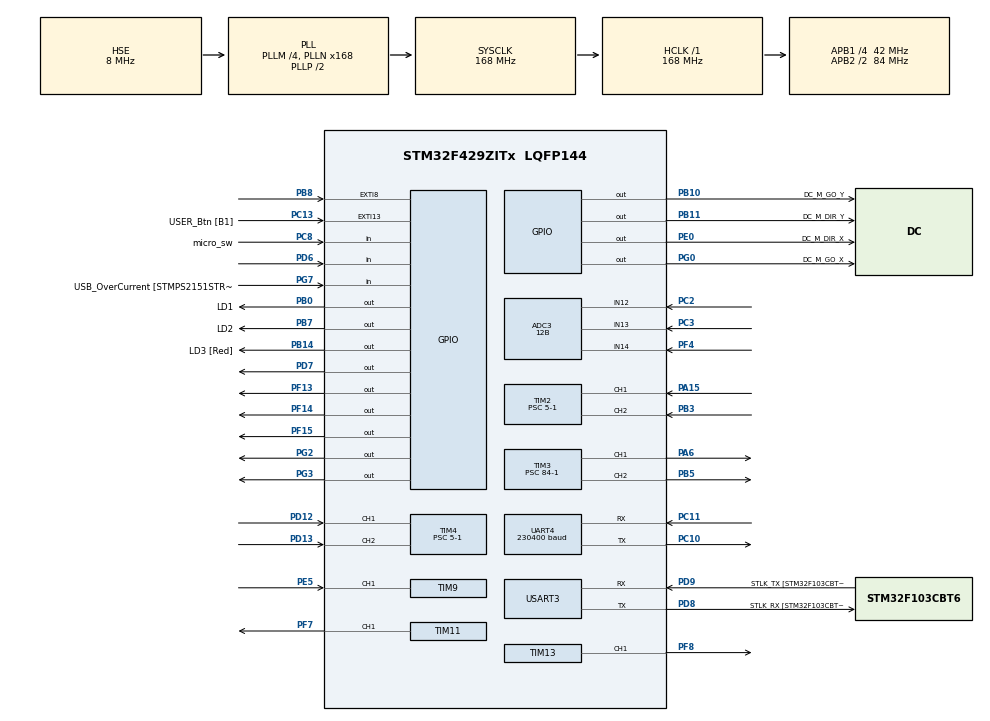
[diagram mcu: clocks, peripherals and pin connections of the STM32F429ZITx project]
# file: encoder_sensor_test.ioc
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ADC3.Channel-3\#ChannelRegularConversion=ADC_CHANNEL_13
ADC3.Channel-4\#ChannelRegularConversion=ADC_CHANNEL_12
ADC3.Channel-5\#ChannelRegularConversion=ADC_CHANNEL_14
ADC3.ContinuousConvMode=DISABLE
ADC3.DMAContinuousRequests=ENABLE
ADC3.DiscontinuousConvMode=ENABLE
ADC3.ExternalTrigConv=ADC_EXTERNALTRIGCONV_T8_TRGO
ADC3.NbrOfConversion=3
ADC3.NbrOfConversionFlag=1
ADC3.NbrOfDiscConversion=3
ADC3.Rank-3\#ChannelRegularConversion=1
ADC3.Rank-4\#ChannelRegularConversion=2
ADC3.Rank-5\#ChannelRegularConversion=3
ADC3.Resolution=ADC_RESOLUTION_12B
ADC3.SamplingTime-3\#ChannelRegularConversion=ADC_SAMPLETIME_480CYCLES
ADC3.SamplingTime-4\#ChannelRegularConversion=ADC_SAMPLETIME_480CYCLES
ADC3.SamplingTime-5\#ChannelRegularConversion=ADC_SAMPLETIME_480CYCLES
ADC3.ScanConvMode=ENABLE
Dma.ADC3.0.Direction=DMA_PERIPH_TO_MEMORY
Dma.ADC3.0.FIFOMode=DMA_FIFOMODE_DISABLE
Dma.ADC3.0.Instance=DMA2_Stream1
Dma.ADC3.0.MemDataAlignment=DMA_MDATAALIGN_HALFWORD
Dma.ADC3.0.MemInc=DMA_MINC_ENABLE
Dma.ADC3.0.Mode=DMA_CIRCULAR
Dma.ADC3.0.PeriphDataAlignment=DMA_PDATAALIGN_HALFWORD
Dma.ADC3.0.PeriphInc=DMA_PINC_DISABLE
Dma.ADC3.0.Priority=DMA_PRIORITY_LOW
Dma.Request0=ADC3
Mcu.Family=STM32F4
Mcu.Name=STM32F429ZITx
Mcu.Package=LQFP144
NVIC.ADC_IRQn=true\:14\:0\:true\:false\:true\:true\:true\:true
NVIC.DMA2_Stream1_IRQn=true\:0\:0\:false\:false\:true\:false\:true\:true
NVIC.EXTI9_5_IRQn=true\:0\:0\:false\:false\:true\:true\:true\:true
NVIC.PriorityGroup=NVIC_PRIORITYGROUP_4
NVIC.TIM1_TRG_COM_TIM11_IRQn=true\:0\:0\:true\:false\:true\:true\:true\:true
NVIC.TIM4_IRQn=true\:0\:0\:true\:false\:true\:true\:true\:true
NVIC.TIM6_DAC_IRQn=true\:0\:0\:true\:false\:true\:true\:true\:true
NVIC.TIM8_TRG_COM_TIM14_IRQn=true\:0\:0\:true\:false\:true\:true\:true\:true
NVIC.TIM8_UP_TIM13_IRQn=true\:0\:0\:true\:false\:true\:true\:true\:true
NVIC.UART4_IRQn=true\:15\:0\:true\:false\:true\:true\:true\:true
NVIC.USART3_IRQn=true\:15\:0\:true\:false\:true\:true\:true\:true
PA1.GPIO_Speed=GPIO_SPEED_FREQ_VERY_HIGH
PA1.Signal=S_TIM5_CH2
PA11.GPIO_Label=USB_DM
PA11.Signal=USB_OTG_FS_DM
PA12.GPIO_Label=USB_DP
PA12.Signal=USB_OTG_FS_DP
PA13.GPIO_Label=TMS
PA13.Mode=Serial_Wire
PA13.Signal=SYS_JTMS-SWDIO
PA14.GPIO_Label=TCK
PA14.Mode=Serial_Wire
PA14.Signal=SYS_JTCK-SWCLK
PA15.GPIO_Speed=GPIO_SPEED_FREQ_VERY_HIGH
PA15.Signal=S_TIM2_CH1_ETR
PA6.GPIO_Speed=GPIO_SPEED_FREQ_VERY_HIGH
PA6.Signal=S_TIM3_CH1
PA8.GPIO_Label=USB_SOF [TP1]
PA8.Signal=USB_OTG_FS_SOF
PA9.GPIO_Label=USB_VBUS
PA9.Signal=USB_OTG_FS_VBUS
PB0.GPIO_Label=LD1
PB0.Signal=GPIO_Output
PB10.GPIO_Label=DC_M_GO_Y
PB10.GPIO_Speed=GPIO_SPEED_FREQ_LOW
PB10.Signal=GPIO_Output
PB11.GPIO_Label=DC_M_DIR_Y
PB11.GPIO_Speed=GPIO_SPEED_FREQ_LOW
PB11.Signal=GPIO_Output
PB14.GPIO_Label=LD3 [Red]
PB14.Signal=GPIO_Output
PB3.GPIO_Speed=GPIO_SPEED_FREQ_VERY_HIGH
PB3.Signal=S_TIM2_CH2
PB5.GPIO_Speed=GPIO_SPEED_FREQ_VERY_HIGH
PB5.Signal=S_TIM3_CH2
PB7.GPIO_Label=LD2
PB7.Signal=GPIO_Output
PB8.Signal=GPXTI8
PC10.Mode=Asynchronous
PC10.Signal=UART4_TX
PC11.Mode=Asynchronous
PC11.Signal=UART4_RX
PC13.GPIO_Label=USER_Btn [B1]
PC13.Signal=GPXTI13
PC14/OSC32_IN.Mode=LSE-External-Oscillator
PC14/OSC32_IN.Signal=RCC_OSC32_IN
PC15/OSC32_OUT.Mode=LSE-External-Oscillator
PC15/OSC32_OUT.Signal=RCC_OSC32_OUT
PC2.Signal=ADCx_IN12
PC3.Signal=ADCx_IN13
PC8.GPIO_Label=micro_sw
PC8.Signal=GPIO_Input
PD12.GPIO_Speed=GPIO_SPEED_FREQ_VERY_HIGH
PD12.Signal=S_TIM4_CH1
PD13.GPIO_Speed=GPIO_SPEED_FREQ_VERY_HIGH
PD13.Signal=S_TIM4_CH2
PD6.Signal=GPIO_Input
PD7.Signal=GPIO_Output
PD8.GPIO_Label=STLK_RX [STM32F103CBT6_PA3]
PD8.Mode=Asynchronous
PD8.Signal=USART3_TX
PD9.GPIO_Label=STLK_TX [STM32F103CBT6_PA2]
PD9.Mode=Asynchronous
PD9.Signal=USART3_RX
PE0.GPIO_Label=DC_M_DIR_X
PE0.GPIO_Speed=GPIO_SPEED_FREQ_LOW
PE0.Signal=GPIO_Output
PE5.Signal=S_TIM9_CH1
PF13.Signal=GPIO_Output
PF14.Signal=GPIO_Output
PF15.Signal=GPIO_Output
PF4.Mode=IN14
PF4.Signal=ADC3_IN14
PF7.GPIO_Speed=GPIO_SPEED_FREQ_VERY_HIGH
PF7.Signal=S_TIM11_CH1
PF8.GPIO_Speed=GPIO_SPEED_FREQ_VERY_HIGH
PF8.Signal=S_TIM13_CH1
PG0.GPIO_Label=DC_M_GO_X
PG0.GPIO_Speed=GPIO_SPEED_FREQ_LOW
PG0.Signal=GPIO_Output
PG2.Signal=GPIO_Output
PG3.Signal=GPIO_Output
PG7.GPIO_Label=USB_OverCurrent [STMPS2151STR_FAULT]
PG7.Signal=GPIO_Input
PH0/OSC_IN.GPIO_Label=MCO [STM32F103CBT6_PA8]
PH0/OSC_IN.Mode=HSE-External-Clock-Source
PH0/OSC_IN.Signal=RCC_OSC_IN
PH1/OSC_OUT.Mode=HSE-External-Clock-Source
PH1/OSC_OUT.Signal=RCC_OSC_OUT
ProjectManager.HeapSize=0x200
ProjectManager.StackSize=0x400
ProjectManager.TargetToolchain=STM32CubeIDE
RCC.48MHZClocksFreq_Value=48000000
RCC.AHBFreq_Value=168000000
RCC.APB1CLKDivider=RCC_HCLK_DIV4
RCC.APB1Freq_Value=42000000
RCC.APB1TimFreq_Value=84000000
RCC.APB2CLKDivider=RCC_HCLK_DIV2
RCC.APB2Freq_Value=84000000
RCC.APB2TimCLKDivider=2
RCC.APB2TimFreq_Value=168000000
RCC.CortexFreq_Value=168000000
RCC.HCLKFreq_Value=168000000
RCC.HSE_VALUE=8000000
RCC.HSI_VALUE=16000000
RCC.PLLM=4
RCC.PLLMUL=RCC_PLL_MUL9
RCC.PLLN=168
RCC.PLLQ=7
RCC.PLLSourceVirtual=RCC_PLLSOURCE_HSE
RCC.PRESCALERUSB=RCC_USBCLKSOURCE_PLL_DIV1_5
RCC.SYSCLKFreq_VALUE=168000000
RCC.SYSCLKSource=RCC_SYSCLKSOURCE_PLLCLK
RCC.SYSCLKSourceVirtual=RCC_SYSCLKSOURCE_PLLCLK
RCC.USBFreq_Value=48000000
RCC.VCOOutputFreq_Value=336000000
SH.ADCx_IN12.0=ADC3_IN12,IN12
SH.ADCx_IN13.0=ADC3_IN13,IN13
SH.S_TIM11_CH1.0=TIM11_CH1,Output Compare1 CH1
SH.S_TIM13_CH1.0=TIM13_CH1,Output Compare1 CH1
SH.S_TIM2_CH1_ETR.0=TIM2_CH1,Encoder_Interface
SH.S_TIM2_CH2.0=TIM2_CH2,Encoder_Interface
SH.S_TIM3_CH1.0=TIM3_CH1,PWM Generation1 CH1
SH.S_TIM3_CH2.0=TIM3_CH2,PWM Generation2 CH2
SH.S_TIM4_CH1.0=TIM4_CH1,Encoder_Interface
SH.S_TIM4_CH2.0=TIM4_CH2,Encoder_Interface
SH.S_TIM5_CH2.0=TIM5_CH2
SH.S_TIM9_CH1.0=TIM9_CH1,TriggerSource_TI1FP1
TIM11.AutoReloadPreload=TIM_AUTORELOAD_PRELOAD_ENABLE
TIM11.Channel=TIM_CHANNEL_1
TIM11.OCMode_1=TIM_OCMODE_TOGGLE
TIM11.Period=800-1
TIM11.Prescaler=168-1
TIM11.Pulse=50
TIM12.Prescaler=42-1
TIM13.AutoReloadPreload=TIM_AUTORELOAD_PRELOAD_ENABLE
TIM13.Channel=TIM_CHANNEL_1
TIM13.OCMode_1=TIM_OCMODE_TOGGLE
TIM13.Period=800-1
TIM13.Prescaler=84-1
TIM13.Pulse=50
TIM14.Period=1000-1
TIM14.Prescaler=840-1
TIM2.EncoderMode=TIM_ENCODERMODE_TI12
TIM2.Period=0xffffffff
TIM2.Prescaler=5-1
TIM3.Channel-PWM\ Generation1\ CH1=TIM_CHANNEL_1
TIM3.Channel-PWM\ Generation2\ CH2=TIM_CHANNEL_2
TIM3.Period=10000-1
TIM3.Prescaler=84-1
TIM3.Pulse-PWM\ Generation1\ CH1=600
TIM3.Pulse-PWM\ Generation2\ CH2=600
TIM4.EncoderMode=TIM_ENCODERMODE_TI12
TIM4.Period=0xFFFF-1
TIM4.Prescaler=5-1
TIM6.Period=1000-1
TIM6.Prescaler=84-1
TIM8.Channel-Output\ Compare4\ No\ Output=TIM_CHANNEL_4
TIM8.Period=30-1
TIM8.Prescaler=84-1
TIM8.Pulse-Output\ Compare4\ No\ Output=2000
TIM8.TIM_MasterOutputTrigger=TIM_TRGO_UPDATE
UART4.BaudRate=230400
UART4.Parity=PARITY_EVEN
UART4.VirtualMode=Asynchronous
USART3.VirtualMode=VM_ASYNC
VP_TIM11_VS_ClockSourceINT.Mode=Enable_Timer
VP_TIM12_VS_ClockSourceINT.Mode=Internal
VP_TIM13_VS_ClockSourceINT.Mode=Enable_Timer
VP_TIM14_VS_ClockSourceINT.Mode=Enable_Timer
VP_TIM3_VS_ClockSourceINT.Mode=Internal
VP_TIM6_VS_ClockSourceINT.Mode=Enable_Timer
VP_TIM8_VS_ClockSourceINT.Mode=Internal
VP_TIM8_VS_no_output4.Mode=Output Compare4 No Output
VP_TIM9_VS_ControllerModeClock.Mode=Clock Mode
board=NUCLEO-F429ZI

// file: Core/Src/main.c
/* USER CODE BEGIN Header */
/**
 ******************************************************************************
 * @file           : main.c
 * @brief          : Main program body
 ******************************************************************************
 * @attention
 *
 * Copyright (c) 2024 STMicroelectronics.
 * All rights reserved.
 *
 * This software is licensed under terms that can be found in the LICENSE file
 * in the root directory of this software component.
 * If no LICENSE file comes with this software, it is provided AS-IS.
 *
 ******************************************************************************
 */
/* USER CODE END Header */
#include "main.h"

/* USER CODE BEGIN Includes */
#include "pid.h"
#include "sensor.h"
#include "step.h"
//#include "pp.h"

uint8_t key_value;

uint8_t data;

uint32_t encoder_count_x = 1000000;
uint32_t encoder_count_y = 1000000;
extern uint32_t tim4_encoder_overflow;

uint16_t ADC3_value[3];

extern int tim6_flag;
extern int tim14_flag;

/* USER CODE END Includes */

ADC_HandleTypeDef hadc3;
DMA_HandleTypeDef hdma_adc3;

TIM_HandleTypeDef htim2;
TIM_HandleTypeDef htim3;
TIM_HandleTypeDef htim4;
TIM_HandleTypeDef htim6;
TIM_HandleTypeDef htim8;
TIM_HandleTypeDef htim9;
TIM_HandleTypeDef htim11;
TIM_HandleTypeDef htim12;
TIM_HandleTypeDef htim13;
TIM_HandleTypeDef htim14;

UART_HandleTypeDef huart4;
UART_HandleTypeDef huart3;

void SystemClock_Config(void);
static void MX_GPIO_Init(void);
static void MX_DMA_Init(void);
static void MX_USART3_UART_Init(void);
static void MX_TIM3_Init(void);
static void MX_TIM14_Init(void);
static void MX_UART4_Init(void);
static void MX_TIM2_Init(void);
static void MX_TIM8_Init(void);
static void MX_TIM6_Init(void);
static void MX_TIM13_Init(void);
static void MX_ADC3_Init(void);
static void MX_TIM12_Init(void);
static void MX_TIM11_Init(void);
static void MX_TIM4_Init(void);
static void MX_TIM9_Init(void);

/* USER CODE BEGIN 0 */
extern uint16_t shaft_step;
extern uint16_t shaft_pulse_cycle;

extern uint16_t ball_screw_step;
extern uint16_t ball_screw_pulse_cycle;

extern int pathLength;

int loop=0;

/* USER CODE END 0 */

int main(void)
{

  /* MCU Configuration--------------------------------------------------------*/

  /* Reset of all peripherals, Initializes the Flash interface and the Systick. */
  HAL_Init();

  /* Configure the system clock */
  SystemClock_Config();

  /* Initialize all configured peripherals */
  MX_GPIO_Init();
  MX_DMA_Init();
  MX_USART3_UART_Init();
  MX_TIM3_Init();
  MX_TIM14_Init();
  MX_UART4_Init();
  MX_TIM2_Init();
  MX_TIM8_Init();
  MX_TIM6_Init();
  MX_TIM13_Init();
  MX_ADC3_Init();
  MX_TIM12_Init();
  MX_TIM11_Init();
  MX_TIM4_Init();
  MX_TIM9_Init();
  /* USER CODE BEGIN 2 */

	HAL_UART_Receive_IT(&huart3, &key_value, 1);
	HAL_UART_Receive_IT(&huart4, &data, 1);

	HAL_ADC_Start_DMA(&hadc3, (uint32_t*) ADC3_value, 3);

	HAL_TIM_Base_Start_IT(&htim6);

	//HAL_TIM_Encoder_Start(&htim2, TIM_CHANNEL_ALL);

	HAL_TIM_Encoder_Start(&htim4, TIM_CHANNEL_ALL);
	HAL_TIM_Base_Start_IT(&htim4);

	HAL_TIM_Base_Start_IT(&htim12);

	HAL_TIM_PWM_Start(&htim3, TIM_CHANNEL_1);
	HAL_TIM_PWM_Start(&htim3, TIM_CHANNEL_2);
	setvbuf(stdin, NULL, _IONBF, 0);

	//HAL_TIM_Base_Start(&htim9);
	HAL_TIM_IC_Start_IT(&htim9, TIM_CHANNEL_1);
	HAL_TIM_IC_Start_IT(&htim9, TIM_CHANNEL_2);
	HAL_TIM_Base_Start_IT(&htim9);

	NVIC->IP[23]= 0x00;  // EXTI9_5 ,  High Priority     EXTI8번에 대한   15
		NVIC->IP[40]= 0x00;  // EXTI15_10    Low Priority    EXTI15번에 대한  14
	//PHY_POWERDOWN=PHY_POWERDOWN;

  /* USER CODE END 2 */

  /* Infinite loop */
	while (1) {

    /* USER CODE BEGIN 3 */

	//	printf("path length: %d\n", pathLength);

		encoder_count_x = TIM2->CNT;  //32bit timer
		encoder_count_y = TIM4->CNT + tim4_encoder_overflow; //16bit timer 에서 32비트로

		if (HAL_GPIO_ReadPin(GPIOC, GPIO_PIN_8) == 0) //sw 눌리면 =0       마이크로스위치 테스트
				{

			HAL_GPIO_WritePin(GPIOB, GPIO_PIN_14, 1);

		} else {

			HAL_GPIO_WritePin(GPIOB, GPIO_PIN_14, 0);

		}

		if (tim6_flag == 1)  //1ms
				{
			distance_sensor();  //거리 센서
			tim6_flag = 0;
		}

				if (tim14_flag >= 1) {
					loop++;
						printf("%d \n\r",loop);

					tim14_flag = 0;
				}

	}
  /* USER CODE END 3 */
}

void SystemClock_Config(void)
{
  RCC_OscInitTypeDef RCC_OscInitStruct = {0};
  RCC_ClkInitTypeDef RCC_ClkInitStruct = {0};

  /** Configure the main internal regulator output voltage
  */
  __HAL_RCC_PWR_CLK_ENABLE();
  __HAL_PWR_VOLTAGESCALING_CONFIG(PWR_REGULATOR_VOLTAGE_SCALE1);

  /** Initializes the RCC Oscillators according to the specified parameters
  * in the RCC_OscInitTypeDef structure.
  */
  RCC_OscInitStruct.OscillatorType = RCC_OSCILLATORTYPE_HSE;
  RCC_OscInitStruct.HSEState = RCC_HSE_BYPASS;
  RCC_OscInitStruct.PLL.PLLState = RCC_PLL_ON;
  RCC_OscInitStruct.PLL.PLLSource = RCC_PLLSOURCE_HSE;
  RCC_OscInitStruct.PLL.PLLM = 4;
  RCC_OscInitStruct.PLL.PLLN = 168;
  RCC_OscInitStruct.PLL.PLLP = RCC_PLLP_DIV2;
  RCC_OscInitStruct.PLL.PLLQ = 7;
  if (HAL_RCC_OscConfig(&RCC_OscInitStruct) != HAL_OK)
  {
    Error_Handler();
  }

  /** Initializes the CPU, AHB and APB buses clocks
  */
  RCC_ClkInitStruct.ClockType = RCC_CLOCKTYPE_HCLK|RCC_CLOCKTYPE_SYSCLK
                              |RCC_CLOCKTYPE_PCLK1|RCC_CLOCKTYPE_PCLK2;
  RCC_ClkInitStruct.SYSCLKSource = RCC_SYSCLKSOURCE_PLLCLK;
  RCC_ClkInitStruct.AHBCLKDivider = RCC_SYSCLK_DIV1;
  RCC_ClkInitStruct.APB1CLKDivider = RCC_HCLK_DIV4;
  RCC_ClkInitStruct.APB2CLKDivider = RCC_HCLK_DIV2;

  if (HAL_RCC_ClockConfig(&RCC_ClkInitStruct, FLASH_LATENCY_5) != HAL_OK)
  {
    Error_Handler();
  }
}

static void MX_ADC3_Init(void)
{

  ADC_ChannelConfTypeDef sConfig = {0};

  /** Configure the global features of the ADC (Clock, Resolution, Data Alignment and number of conversion)
  */
  hadc3.Instance = ADC3;
  hadc3.Init.ClockPrescaler = ADC_CLOCK_SYNC_PCLK_DIV4;
  hadc3.Init.Resolution = ADC_RESOLUTION_12B;
  hadc3.Init.ScanConvMode = ENABLE;
  hadc3.Init.ContinuousConvMode = DISABLE;
  hadc3.Init.DiscontinuousConvMode = ENABLE;
  hadc3.Init.NbrOfDiscConversion = 3;
  hadc3.Init.ExternalTrigConvEdge = ADC_EXTERNALTRIGCONVEDGE_RISING;
  hadc3.Init.ExternalTrigConv = ADC_EXTERNALTRIGCONV_T8_TRGO;
  hadc3.Init.DataAlign = ADC_DATAALIGN_RIGHT;
  hadc3.Init.NbrOfConversion = 3;
  hadc3.Init.DMAContinuousRequests = ENABLE;
  hadc3.Init.EOCSelection = ADC_EOC_SINGLE_CONV;
  if (HAL_ADC_Init(&hadc3) != HAL_OK)
  {
    Error_Handler();
  }

  /** Configure for the selected ADC regular channel its corresponding rank in the sequencer and its sample time.
  */
  sConfig.Channel = ADC_CHANNEL_13;
  sConfig.Rank = 1;
  sConfig.SamplingTime = ADC_SAMPLETIME_480CYCLES;
  if (HAL_ADC_ConfigChannel(&hadc3, &sConfig) != HAL_OK)
  {
    Error_Handler();
  }

  /** Configure for the selected ADC regular channel its corresponding rank in the sequencer and its sample time.
  */
  sConfig.Channel = ADC_CHANNEL_12;
  sConfig.Rank = 2;
  if (HAL_ADC_ConfigChannel(&hadc3, &sConfig) != HAL_OK)
  {
    Error_Handler();
  }

  /** Configure for the selected ADC regular channel its corresponding rank in the sequencer and its sample time.
  */
  sConfig.Channel = ADC_CHANNEL_14;
  sConfig.Rank = 3;
  if (HAL_ADC_ConfigChannel(&hadc3, &sConfig) != HAL_OK)
  {
    Error_Handler();
  }

}

static void MX_TIM2_Init(void)
{

  TIM_Encoder_InitTypeDef sConfig = {0};
  TIM_MasterConfigTypeDef sMasterConfig = {0};

  htim2.Instance = TIM2;
  htim2.Init.Prescaler = 5-1;
  htim2.Init.CounterMode = TIM_COUNTERMODE_UP;
  htim2.Init.Period = 0xffffffff;
  htim2.Init.ClockDivision = TIM_CLOCKDIVISION_DIV1;
  htim2.Init.AutoReloadPreload = TIM_AUTORELOAD_PRELOAD_DISABLE;
  sConfig.EncoderMode = TIM_ENCODERMODE_TI12;
  sConfig.IC1Polarity = TIM_ICPOLARITY_RISING;
  sConfig.IC1Selection = TIM_ICSELECTION_DIRECTTI;
  sConfig.IC1Prescaler = TIM_ICPSC_DIV1;
  sConfig.IC1Filter = 0;
  sConfig.IC2Polarity = TIM_ICPOLARITY_RISING;
  sConfig.IC2Selection = TIM_ICSELECTION_DIRECTTI;
  sConfig.IC2Prescaler = TIM_ICPSC_DIV1;
  sConfig.IC2Filter = 0;
  if (HAL_TIM_Encoder_Init(&htim2, &sConfig) != HAL_OK)
  {
    Error_Handler();
  }
  sMasterConfig.MasterOutputTrigger = TIM_TRGO_RESET;
  sMasterConfig.MasterSlaveMode = TIM_MASTERSLAVEMODE_DISABLE;
  if (HAL_TIMEx_MasterConfigSynchronization(&htim2, &sMasterConfig) != HAL_OK)
  {
    Error_Handler();
  }

}

static void MX_TIM3_Init(void)
{

  TIM_ClockConfigTypeDef sClockSourceConfig = {0};
  TIM_MasterConfigTypeDef sMasterConfig = {0};
  TIM_OC_InitTypeDef sConfigOC = {0};

  htim3.Instance = TIM3;
  htim3.Init.Prescaler = 84-1;
  htim3.Init.CounterMode = TIM_COUNTERMODE_UP;
  htim3.Init.Period = 10000-1;
  htim3.Init.ClockDivision = TIM_CLOCKDIVISION_DIV1;
  htim3.Init.AutoReloadPreload = TIM_AUTORELOAD_PRELOAD_DISABLE;
  if (HAL_TIM_Base_Init(&htim3) != HAL_OK)
  {
    Error_Handler();
  }
  sClockSourceConfig.ClockSource = TIM_CLOCKSOURCE_INTERNAL;
  if (HAL_TIM_ConfigClockSource(&htim3, &sClockSourceConfig) != HAL_OK)
  {
    Error_Handler();
  }
  if (HAL_TIM_PWM_Init(&htim3) != HAL_OK)
  {
    Error_Handler();
  }
  sMasterConfig.MasterOutputTrigger = TIM_TRGO_RESET;
  sMasterConfig.MasterSlaveMode = TIM_MASTERSLAVEMODE_DISABLE;
  if (HAL_TIMEx_MasterConfigSynchronization(&htim3, &sMasterConfig) != HAL_OK)
  {
    Error_Handler();
  }
  sConfigOC.OCMode = TIM_OCMODE_PWM1;
  sConfigOC.Pulse = 600;
  sConfigOC.OCPolarity = TIM_OCPOLARITY_HIGH;
  sConfigOC.OCFastMode = TIM_OCFAST_DISABLE;
  if (HAL_TIM_PWM_ConfigChannel(&htim3, &sConfigOC, TIM_CHANNEL_1) != HAL_OK)
  {
    Error_Handler();
  }
  if (HAL_TIM_PWM_ConfigChannel(&htim3, &sConfigOC, TIM_CHANNEL_2) != HAL_OK)
  {
    Error_Handler();
  }
  HAL_TIM_MspPostInit(&htim3);

}

static void MX_TIM4_Init(void)
{

  TIM_Encoder_InitTypeDef sConfig = {0};
  TIM_MasterConfigTypeDef sMasterConfig = {0};

  htim4.Instance = TIM4;
  htim4.Init.Prescaler = 5-1;
  htim4.Init.CounterMode = TIM_COUNTERMODE_UP;
  htim4.Init.Period = 0xFFFF-1;
  htim4.Init.ClockDivision = TIM_CLOCKDIVISION_DIV1;
  htim4.Init.AutoReloadPreload = TIM_AUTORELOAD_PRELOAD_DISABLE;
  sConfig.EncoderMode = TIM_ENCODERMODE_TI12;
  sConfig.IC1Polarity = TIM_ICPOLARITY_RISING;
  sConfig.IC1Selection = TIM_ICSELECTION_DIRECTTI;
  sConfig.IC1Prescaler = TIM_ICPSC_DIV1;
  sConfig.IC1Filter = 0;
  sConfig.IC2Polarity = TIM_ICPOLARITY_RISING;
  sConfig.IC2Selection = TIM_ICSELECTION_DIRECTTI;
  sConfig.IC2Prescaler = TIM_ICPSC_DIV1;
  sConfig.IC2Filter = 0;
  if (HAL_TIM_Encoder_Init(&htim4, &sConfig) != HAL_OK)
  {
    Error_Handler();
  }
  sMasterConfig.MasterOutputTrigger = TIM_TRGO_RESET;
  sMasterConfig.MasterSlaveMode = TIM_MASTERSLAVEMODE_DISABLE;
  if (HAL_TIMEx_MasterConfigSynchronization(&htim4, &sMasterConfig) != HAL_OK)
  {
    Error_Handler();
  }

}

static void MX_TIM6_Init(void)
{

  /* USER CODE BEGIN TIM6_Init 0 */
	//0.001s = 1ms
	//PID 샘플링 주기
  /* USER CODE END TIM6_Init 0 */

  TIM_MasterConfigTypeDef sMasterConfig = {0};

  htim6.Instance = TIM6;
  htim6.Init.Prescaler = 84-1;
  htim6.Init.CounterMode = TIM_COUNTERMODE_UP;
  htim6.Init.Period = 1000-1;
  htim6.Init.AutoReloadPreload = TIM_AUTORELOAD_PRELOAD_DISABLE;
  if (HAL_TIM_Base_Init(&htim6) != HAL_OK)
  {
    Error_Handler();
  }
  sMasterConfig.MasterOutputTrigger = TIM_TRGO_RESET;
  sMasterConfig.MasterSlaveMode = TIM_MASTERSLAVEMODE_DISABLE;
  if (HAL_TIMEx_MasterConfigSynchronization(&htim6, &sMasterConfig) != HAL_OK)
  {
    Error_Handler();
  }
  /* USER CODE BEGIN TIM6_Init 2 */
	HAL_TIM_Base_Start_IT(&htim6);
  /* USER CODE END TIM6_Init 2 */

}

static void MX_TIM8_Init(void)
{

  /* USER CODE BEGIN TIM8_Init 0 */
	//ADC 측정 타이머 , 나중엔 필요 x
  /* USER CODE END TIM8_Init 0 */

  TIM_ClockConfigTypeDef sClockSourceConfig = {0};
  TIM_MasterConfigTypeDef sMasterConfig = {0};
  TIM_OC_InitTypeDef sConfigOC = {0};
  TIM_BreakDeadTimeConfigTypeDef sBreakDeadTimeConfig = {0};

  htim8.Instance = TIM8;
  htim8.Init.Prescaler = 84-1;
  htim8.Init.CounterMode = TIM_COUNTERMODE_UP;
  htim8.Init.Period = 30-1;
  htim8.Init.ClockDivision = TIM_CLOCKDIVISION_DIV1;
  htim8.Init.RepetitionCounter = 0;
  htim8.Init.AutoReloadPreload = TIM_AUTORELOAD_PRELOAD_DISABLE;
  if (HAL_TIM_Base_Init(&htim8) != HAL_OK)
  {
    Error_Handler();
  }
  sClockSourceConfig.ClockSource = TIM_CLOCKSOURCE_INTERNAL;
  if (HAL_TIM_ConfigClockSource(&htim8, &sClockSourceConfig) != HAL_OK)
  {
    Error_Handler();
  }
  if (HAL_TIM_OC_Init(&htim8) != HAL_OK)
  {
    Error_Handler();
  }
  sMasterConfig.MasterOutputTrigger = TIM_TRGO_UPDATE;
  sMasterConfig.MasterSlaveMode = TIM_MASTERSLAVEMODE_DISABLE;
  if (HAL_TIMEx_MasterConfigSynchronization(&htim8, &sMasterConfig) != HAL_OK)
  {
    Error_Handler();
  }
  sConfigOC.OCMode = TIM_OCMODE_TIMING;
  sConfigOC.Pulse = 2000;
  sConfigOC.OCPolarity = TIM_OCPOLARITY_HIGH;
  sConfigOC.OCFastMode = TIM_OCFAST_DISABLE;
  sConfigOC.OCIdleState = TIM_OCIDLESTATE_RESET;
  sConfigOC.OCNIdleState = TIM_OCNIDLESTATE_RESET;
  if (HAL_TIM_OC_ConfigChannel(&htim8, &sConfigOC, TIM_CHANNEL_4) != HAL_OK)
  {
    Error_Handler();
  }
  sBreakDeadTimeConfig.OffStateRunMode = TIM_OSSR_DISABLE;
  sBreakDeadTimeConfig.OffStateIDLEMode = TIM_OSSI_DISABLE;
  sBreakDeadTimeConfig.LockLevel = TIM_LOCKLEVEL_OFF;
  sBreakDeadTimeConfig.DeadTime = 0;
  sBreakDeadTimeConfig.BreakState = TIM_BREAK_DISABLE;
  sBreakDeadTimeConfig.BreakPolarity = TIM_BREAKPOLARITY_HIGH;
  sBreakDeadTimeConfig.AutomaticOutput = TIM_AUTOMATICOUTPUT_DISABLE;
  if (HAL_TIMEx_ConfigBreakDeadTime(&htim8, &sBreakDeadTimeConfig) != HAL_OK)
  {
    Error_Handler();
  }
  /* USER CODE BEGIN TIM8_Init 2 */
	HAL_TIM_Base_Start_IT(&htim8);
  /* USER CODE END TIM8_Init 2 */

}

static void MX_TIM9_Init(void)
{

  TIM_SlaveConfigTypeDef sSlaveConfig = {0};

  htim9.Instance = TIM9;
  htim9.Init.Prescaler = 0;
  htim9.Init.CounterMode = TIM_COUNTERMODE_UP;
  htim9.Init.Period = 65535;
  htim9.Init.ClockDivision = TIM_CLOCKDIVISION_DIV1;
  htim9.Init.AutoReloadPreload = TIM_AUTORELOAD_PRELOAD_DISABLE;
  if (HAL_TIM_Base_Init(&htim9) != HAL_OK)
  {
    Error_Handler();
  }
  sSlaveConfig.SlaveMode = TIM_SLAVEMODE_EXTERNAL1;
  sSlaveConfig.InputTrigger = TIM_TS_TI1FP1;
  sSlaveConfig.TriggerPolarity = TIM_TRIGGERPOLARITY_RISING;
  sSlaveConfig.TriggerFilter = 0;
  if (HAL_TIM_SlaveConfigSynchro(&htim9, &sSlaveConfig) != HAL_OK)
  {
    Error_Handler();
  }

}

static void MX_TIM11_Init(void)
{

  TIM_OC_InitTypeDef sConfigOC = {0};

  htim11.Instance = TIM11;
  htim11.Init.Prescaler = 168-1;
  htim11.Init.CounterMode = TIM_COUNTERMODE_UP;
  htim11.Init.Period = 800-1;
  htim11.Init.ClockDivision = TIM_CLOCKDIVISION_DIV1;
  htim11.Init.AutoReloadPreload = TIM_AUTORELOAD_PRELOAD_ENABLE;
  if (HAL_TIM_Base_Init(&htim11) != HAL_OK)
  {
    Error_Handler();
  }
  if (HAL_TIM_OC_Init(&htim11) != HAL_OK)
  {
    Error_Handler();
  }
  sConfigOC.OCMode = TIM_OCMODE_TOGGLE;
  sConfigOC.Pulse = 50;
  sConfigOC.OCPolarity = TIM_OCPOLARITY_HIGH;
  sConfigOC.OCFastMode = TIM_OCFAST_DISABLE;
  if (HAL_TIM_OC_ConfigChannel(&htim11, &sConfigOC, TIM_CHANNEL_1) != HAL_OK)
  {
    Error_Handler();
  }
  HAL_TIM_MspPostInit(&htim11);

}

static void MX_TIM12_Init(void)
{

  /* USER CODE BEGIN TIM12_Init 0 */
	// 초음파 센서
  /* USER CODE END TIM12_Init 0 */

  TIM_ClockConfigTypeDef sClockSourceConfig = {0};

  htim12.Instance = TIM12;
  htim12.Init.Prescaler = 42-1;
  htim12.Init.CounterMode = TIM_COUNTERMODE_UP;
  htim12.Init.Period = 65535;
  htim12.Init.ClockDivision = TIM_CLOCKDIVISION_DIV1;
  htim12.Init.AutoReloadPreload = TIM_AUTORELOAD_PRELOAD_DISABLE;
  if (HAL_TIM_Base_Init(&htim12) != HAL_OK)
  {
    Error_Handler();
  }
  sClockSourceConfig.ClockSource = TIM_CLOCKSOURCE_INTERNAL;
  if (HAL_TIM_ConfigClockSource(&htim12, &sClockSourceConfig) != HAL_OK)
  {
    Error_Handler();
  }

}

static void MX_TIM13_Init(void)
{

  /* USER CODE BEGIN TIM13_Init 0 */
// 테스트 용
  /* USER CODE END TIM13_Init 0 */

  TIM_OC_InitTypeDef sConfigOC = {0};

  htim13.Instance = TIM13;
  htim13.Init.Prescaler = 84-1;
  htim13.Init.CounterMode = TIM_COUNTERMODE_UP;
  htim13.Init.Period = 800-1;
  htim13.Init.ClockDivision = TIM_CLOCKDIVISION_DIV1;
  htim13.Init.AutoReloadPreload = TIM_AUTORELOAD_PRELOAD_ENABLE;
  if (HAL_TIM_Base_Init(&htim13) != HAL_OK)
  {
    Error_Handler();
  }
  if (HAL_TIM_OC_Init(&htim13) != HAL_OK)
  {
    Error_Handler();
  }
  sConfigOC.OCMode = TIM_OCMODE_TOGGLE;
  sConfigOC.Pulse = 50;
  sConfigOC.OCPolarity = TIM_OCPOLARITY_HIGH;
  sConfigOC.OCFastMode = TIM_OCFAST_DISABLE;
  if (HAL_TIM_OC_ConfigChannel(&htim13, &sConfigOC, TIM_CHANNEL_1) != HAL_OK)
  {
    Error_Handler();
  }
  /* USER CODE BEGIN TIM13_Init 2 */
	HAL_TIM_MspPostInit(&htim13);
  /* USER CODE END TIM13_Init 2 */
  HAL_TIM_MspPostInit(&htim13);

}

static void MX_TIM14_Init(void)
{

  /* USER CODE BEGIN TIM14_Init 0 */
//RPM 측정
  /* USER CODE END TIM14_Init 0 */

  htim14.Instance = TIM14;
  htim14.Init.Prescaler = 840-1;
  htim14.Init.CounterMode = TIM_COUNTERMODE_UP;
  htim14.Init.Period = 1000-1;
  htim14.Init.ClockDivision = TIM_CLOCKDIVISION_DIV1;
  htim14.Init.AutoReloadPreload = TIM_AUTORELOAD_PRELOAD_DISABLE;
  if (HAL_TIM_Base_Init(&htim14) != HAL_OK)
  {
    Error_Handler();
  }
  /* USER CODE BEGIN TIM14_Init 2 */
	TIM14->DIER |= (1 << 0);   // CC1IE: Enable the Tim14 UG interrupt
	NVIC->ISER[1] |= (1 << (45 - 32)); // TIM14_CC

	TIM14->CR1 |= (1 << 0);	// CEN: Counter TIM14 enable

  /* USER CODE END TIM14_Init 2 */

}

static void MX_UART4_Init(void)
{

  huart4.Instance = UART4;
  huart4.Init.BaudRate = 230400;
  huart4.Init.WordLength = UART_WORDLENGTH_8B;
  huart4.Init.StopBits = UART_STOPBITS_1;
  huart4.Init.Parity = UART_PARITY_EVEN;
  huart4.Init.Mode = UART_MODE_TX_RX;
  huart4.Init.HwFlowCtl = UART_HWCONTROL_NONE;
  huart4.Init.OverSampling = UART_OVERSAMPLING_16;
  if (HAL_UART_Init(&huart4) != HAL_OK)
  {
    Error_Handler();
  }

}

static void MX_USART3_UART_Init(void)
{

  huart3.Instance = USART3;
  huart3.Init.BaudRate = 115200;
  huart3.Init.WordLength = UART_WORDLENGTH_8B;
  huart3.Init.StopBits = UART_STOPBITS_1;
  huart3.Init.Parity = UART_PARITY_NONE;
  huart3.Init.Mode = UART_MODE_TX_RX;
  huart3.Init.HwFlowCtl = UART_HWCONTROL_NONE;
  huart3.Init.OverSampling = UART_OVERSAMPLING_16;
  if (HAL_UART_Init(&huart3) != HAL_OK)
  {
    Error_Handler();
  }

}

static void MX_DMA_Init(void)
{

  /* DMA controller clock enable */
  __HAL_RCC_DMA2_CLK_ENABLE();

  /* DMA interrupt init */
  /* DMA2_Stream1_IRQn interrupt configuration */
  HAL_NVIC_SetPriority(DMA2_Stream1_IRQn, 0, 0);
  HAL_NVIC_EnableIRQ(DMA2_Stream1_IRQn);

}

static void MX_GPIO_Init(void)
{
  GPIO_InitTypeDef GPIO_InitStruct = {0};

  /* GPIO Ports Clock Enable */
  __HAL_RCC_GPIOE_CLK_ENABLE();
  __HAL_RCC_GPIOC_CLK_ENABLE();
  __HAL_RCC_GPIOF_CLK_ENABLE();
  __HAL_RCC_GPIOH_CLK_ENABLE();
  __HAL_RCC_GPIOA_CLK_ENABLE();
  __HAL_RCC_GPIOB_CLK_ENABLE();
  __HAL_RCC_GPIOG_CLK_ENABLE();
  __HAL_RCC_GPIOD_CLK_ENABLE();

  /*Configure GPIO pin Output Level */
  HAL_GPIO_WritePin(GPIOB, LD1_Pin|DC_M_GO_Y_Pin|DC_M_DIR_Y_Pin|LD3_Pin
                          |LD2_Pin, GPIO_PIN_RESET);

  /*Configure GPIO pin Output Level */
  HAL_GPIO_WritePin(GPIOF, GPIO_PIN_13|GPIO_PIN_14|GPIO_PIN_15, GPIO_PIN_RESET);

  /*Configure GPIO pin Output Level */
  HAL_GPIO_WritePin(GPIOG, DC_M_GO_X_Pin|GPIO_PIN_2|GPIO_PIN_3, GPIO_PIN_RESET);

  /*Configure GPIO pin Output Level */
  HAL_GPIO_WritePin(GPIOD, GPIO_PIN_7, GPIO_PIN_RESET);

  /*Configure GPIO pin Output Level */
  HAL_GPIO_WritePin(DC_M_DIR_X_GPIO_Port, DC_M_DIR_X_Pin, GPIO_PIN_RESET);

  /*Configure GPIO pin : USER_Btn_Pin */
  GPIO_InitStruct.Pin = USER_Btn_Pin;
  GPIO_InitStruct.Mode = GPIO_MODE_IT_RISING;
  GPIO_InitStruct.Pull = GPIO_NOPULL;
  HAL_GPIO_Init(USER_Btn_GPIO_Port, &GPIO_InitStruct);

  /*Configure GPIO pin : PA1 */
  GPIO_InitStruct.Pin = GPIO_PIN_1;
  GPIO_InitStruct.Mode = GPIO_MODE_AF_PP;
  GPIO_InitStruct.Pull = GPIO_NOPULL;
  GPIO_InitStruct.Speed = GPIO_SPEED_FREQ_VERY_HIGH;
  GPIO_InitStruct.Alternate = GPIO_AF2_TIM5;
  HAL_GPIO_Init(GPIOA, &GPIO_InitStruct);

  /*Configure GPIO pins : LD1_Pin DC_M_GO_Y_Pin DC_M_DIR_Y_Pin LD3_Pin
                           LD2_Pin */
  GPIO_InitStruct.Pin = LD1_Pin|DC_M_GO_Y_Pin|DC_M_DIR_Y_Pin|LD3_Pin
                          |LD2_Pin;
  GPIO_InitStruct.Mode = GPIO_MODE_OUTPUT_PP;
  GPIO_InitStruct.Pull = GPIO_NOPULL;
  GPIO_InitStruct.Speed = GPIO_SPEED_FREQ_LOW;
  HAL_GPIO_Init(GPIOB, &GPIO_InitStruct);

  /*Configure GPIO pins : PF13 PF14 PF15 */
  GPIO_InitStruct.Pin = GPIO_PIN_13|GPIO_PIN_14|GPIO_PIN_15;
  GPIO_InitStruct.Mode = GPIO_MODE_OUTPUT_PP;
  GPIO_InitStruct.Pull = GPIO_NOPULL;
  GPIO_InitStruct.Speed = GPIO_SPEED_FREQ_LOW;
  HAL_GPIO_Init(GPIOF, &GPIO_InitStruct);

  /*Configure GPIO pins : DC_M_GO_X_Pin PG2 PG3 */
  GPIO_InitStruct.Pin = DC_M_GO_X_Pin|GPIO_PIN_2|GPIO_PIN_3;
  GPIO_InitStruct.Mode = GPIO_MODE_OUTPUT_PP;
  GPIO_InitStruct.Pull = GPIO_NOPULL;
  GPIO_InitStruct.Speed = GPIO_SPEED_FREQ_LOW;
  HAL_GPIO_Init(GPIOG, &GPIO_InitStruct);

  /*Configure GPIO pin : USB_OverCurrent_Pin */
  GPIO_InitStruct.Pin = USB_OverCurrent_Pin;
  GPIO_InitStruct.Mode = GPIO_MODE_INPUT;
  GPIO_InitStruct.Pull = GPIO_NOPULL;
  HAL_GPIO_Init(USB_OverCurrent_GPIO_Port, &GPIO_InitStruct);

  /*Configure GPIO pin : micro_sw_Pin */
  GPIO_InitStruct.Pin = micro_sw_Pin;
  GPIO_InitStruct.Mode = GPIO_MODE_INPUT;
  GPIO_InitStruct.Pull = GPIO_NOPULL;
  HAL_GPIO_Init(micro_sw_GPIO_Port, &GPIO_InitStruct);

  /*Configure GPIO pins : USB_SOF_Pin USB_DM_Pin USB_DP_Pin */
  GPIO_InitStruct.Pin = USB_SOF_Pin|USB_DM_Pin|USB_DP_Pin;
  GPIO_InitStruct.Mode = GPIO_MODE_AF_PP;
  GPIO_InitStruct.Pull = GPIO_NOPULL;
  GPIO_InitStruct.Speed = GPIO_SPEED_FREQ_VERY_HIGH;
  GPIO_InitStruct.Alternate = GPIO_AF10_OTG_FS;
  HAL_GPIO_Init(GPIOA, &GPIO_InitStruct);

  /*Configure GPIO pin : USB_VBUS_Pin */
  GPIO_InitStruct.Pin = USB_VBUS_Pin;
  GPIO_InitStruct.Mode = GPIO_MODE_INPUT;
  GPIO_InitStruct.Pull = GPIO_NOPULL;
  HAL_GPIO_Init(USB_VBUS_GPIO_Port, &GPIO_InitStruct);

  /*Configure GPIO pin : PD6 */
  GPIO_InitStruct.Pin = GPIO_PIN_6;
  GPIO_InitStruct.Mode = GPIO_MODE_INPUT;
  GPIO_InitStruct.Pull = GPIO_NOPULL;
  HAL_GPIO_Init(GPIOD, &GPIO_InitStruct);

  /*Configure GPIO pin : PD7 */
  GPIO_InitStruct.Pin = GPIO_PIN_7;
  GPIO_InitStruct.Mode = GPIO_MODE_OUTPUT_PP;
  GPIO_InitStruct.Pull = GPIO_NOPULL;
  GPIO_InitStruct.Speed = GPIO_SPEED_FREQ_LOW;
  HAL_GPIO_Init(GPIOD, &GPIO_InitStruct);

  /*Configure GPIO pin : PB8 */
  GPIO_InitStruct.Pin = GPIO_PIN_8;
  GPIO_InitStruct.Mode = GPIO_MODE_IT_RISING;
  GPIO_InitStruct.Pull = GPIO_NOPULL;
  HAL_GPIO_Init(GPIOB, &GPIO_InitStruct);

  /*Configure GPIO pin : DC_M_DIR_X_Pin */
  GPIO_InitStruct.Pin = DC_M_DIR_X_Pin;
  GPIO_InitStruct.Mode = GPIO_MODE_OUTPUT_PP;
  GPIO_InitStruct.Pull = GPIO_NOPULL;
  GPIO_InitStruct.Speed = GPIO_SPEED_FREQ_LOW;
  HAL_GPIO_Init(DC_M_DIR_X_GPIO_Port, &GPIO_InitStruct);

  /* EXTI interrupt init*/
  HAL_NVIC_SetPriority(EXTI9_5_IRQn, 0, 0);
  HAL_NVIC_EnableIRQ(EXTI9_5_IRQn);

}

/* USER CODE BEGIN 4 */

int position_start = 0;  //전역
int position_start_Y = 0;  //전역

int vt_start = 0;  //전
int vt_start_Y = 0;  //전

float input_encodor_X = 34000 * 2;
float input_encodor_Y = 34000 * 2;
extern float targetS;
float targetS_Y = 60;

extern float input_position_X;
extern float input_position_Y;

extern uint8_t data;
int8_t RX_flag = 0;

//extern uint32_t step_pulse_count_tim13;
//extern uint16_t step_pulse_count_tim11;

//extern int us;

PUTCHAR_PROTOTYPE  //테라텀
{
	HAL_UART_Transmit(&huart3, (uint8_t*) &ch, 1, HAL_MAX_DELAY);
	return ch;
}

void SerialSendChar_PC(uint8_t Ch1) // 1문자 보내기 함수
{
	// USART_SR_TXE(1<<7)=0?, TX Buffer NOT Empty?
	// TX buffer Empty되지 않으면 계속 대기(송신 가능한 상태까지 대기)
	while ((USART3->SR & 1 << 7) == RESET)
		;
	USART3->DR = (Ch1 & 0x01FF);	// 전송 (최대 9bit 이므로 0x01FF과 masking)
}

void SerialSendChar_ESP(uint8_t Ch2) // 1문자 보내기 함수
{
	while ((UART4->SR & 1 << 7) == RESET)
		;
	UART4->DR = (Ch2 & 0x01FF);
}

extern uint16_t ADC3_value[3];

extern float battery_V;

void STM32_to_ESP(void)                    // ESP로 데이터 보냄
{

	uint16_t RPM_uint16;
	uint16_t battery_uint16;

	extern float RPM_X;
	uint8_t buffer[256];

#define test 1
#if test ==1
//	GPIOB->ODR ^= 1 << 7;
	RPM_uint16 = RPM_X * 10;
	battery_uint16 = battery_V * 100;

	SerialSendChar_ESP('?');

	//테스트

	if (ADC3_value[0] >= 1000 && ADC3_value[0] <= 4095) {

		sprintf((char*) buffer, "%d\n\r", ADC3_value[0]);
		//		HAL_UART_Transmit(&huart3, buffer, strlen((char*) buffer), 100);
		sprintf((char*) buffer, "%d\n\r", ADC3_value[0]);
		//		HAL_UART_Transmit(&huart3, buffer, strlen((char*) buffer), 100);
		sprintf((char*) buffer, "%d\n\r", ADC3_value[0]);
		//	HAL_UART_Transmit(&huart3, buffer, strlen((char*) buffer), 100);

		//배터리, 속도 전송
		sprintf((char*) buffer, "%d", ADC3_value[0]);
		HAL_UART_Transmit(&huart4, buffer, strlen((char*) buffer), 100);
		sprintf((char*) buffer, "%d", ADC3_value[0]);
		HAL_UART_Transmit(&huart4, buffer, strlen((char*) buffer), 100);
		sprintf((char*) buffer, "%d", ADC3_value[0]);
		HAL_UART_Transmit(&huart4, buffer, strlen((char*) buffer), 100);
	}

#elif test == 2
		 GPIOB->ODR ^= 1 << 7;
		 RPM_uint16 = RPM_X * 10;
		 battery_uint16 = battery_V * 100;

		 SerialSendChar_ESP('?');
		 sprintf((char*) buffer, "%d", battery_uint16);
		 HAL_UART_Transmit(&huart4, buffer, strlen((char*) buffer), 100);
		 sprintf((char*) buffer, "%d", RPM_uint16);
		 HAL_UART_Transmit(&huart4, buffer, strlen((char*) buffer), 100);
		 sprintf((char*) buffer, "%d", battery_uint16);
		 HAL_UART_Transmit(&huart4, buffer, strlen((char*) buffer), 100);
		 #endif

}

void UART3_RX_PC_to_STM32(void) // UART3: STM32 <-> PC
{

	HAL_UART_Receive_IT(&huart3, &key_value, 1);
	printf("%d,^^ %c \r\n", key_value, key_value);

	switch (key_value) {
	case 'q':
		HAL_GPIO_WritePin(GPIOE, GPIO_PIN_0, 1);  //방향 back

		GPIOB->ODR |= 1 << 0;  //LD1

		break;

	case 'w':
		HAL_GPIO_WritePin(GPIOE, GPIO_PIN_0, 0);  //방향 go

		GPIOB->ODR &= ~1 << 0;  //LD1

		break;

	case '1':
		HAL_GPIO_WritePin(GPIOG, GPIO_PIN_0, 1);  //stop

		break;

	case '2':
		HAL_GPIO_WritePin(GPIOG, GPIO_PIN_0, 0);  //start

		break;

	case '3':
		TIM3->CCR1 = 700;

		break;

	case '4':
		TIM3->CCR1 = 1500;

		break;

	case '5':
		TIM3->CCR1 = 5000;

		break;

		/////////////////////////////////////////////////y축 이동

	case 'd':
		HAL_GPIO_WritePin(GPIOB, GPIO_PIN_10, 1);  //y축 방향 back

		GPIOB->ODR |= 1 << 0;  //LD1

		break;

	case 'f':
		HAL_GPIO_WritePin(GPIOB, GPIO_PIN_10, 0);  //y축 방향 go

		GPIOB->ODR &= ~1 << 0;  //LD1

		break;

	case 'a':
		HAL_GPIO_WritePin(GPIOB, GPIO_PIN_11, 1);  //stop

		break;

	case 's':
		HAL_GPIO_WritePin(GPIOB, GPIO_PIN_11, 0);  //start

		break;

	case 'e':
		TIM3->CCR2 = 700;

		break;

	case 'r':
		TIM3->CCR2 = 1500;

		break;
	case 't':
		TIM3->CCR2 = 5000;

		break;
		///////////////////////////////////////////////////////////////// x축 바퀴 PID
	case 'u':
//		if (position_start == 0) {
//			position_start = 1;
//
//		} else if (position_start == 1) {
//			position_start = 0;
//
//		}
		break;

	case 'i':

		dc_motor_pid_X(34000);

		break;

	case 'o':
		dc_motor_pid_X(-34000);

		break;

	case 'p':
		dc_motor_pid_X(input_encodor_X);

		break;

	case '[':
			dc_motor_pid_X(-input_encodor_X);

			break;
	case 'I':  //30cm

		v_t_graph_DIR_GO_X(30);  //앞으로 30cm

		break;
	case 'O':

		v_t_graph_DIR_BACK_X(30); //뒤로 30cm

		break;
	case 'P':

		v_t_graph_DIR_GO_X(targetS);  //앞으로

		break;
	case '{':

		v_t_graph_DIR_BACK_X(targetS); //뒤로

		break;
		///////////////////////////////////////////////////////// y축  바퀴  PID
	case '7':
//		if (position_start_Y == 0) {
//			position_start_Y = 1;

//		} else if (position_start_Y == 1) {
		//		position_start_Y = 0;

//		}
		break;
	/////////////////////// PID y축 동작 버튼
	case '8':

		dc_motor_pid_Y(34000);
		break;

	case '9':
		dc_motor_pid_Y(-34000);
		break;

	case '0':
		dc_motor_pid_Y(input_encodor_Y);
		break;
	case '-':
			dc_motor_pid_Y(-input_encodor_Y);
			break;
///////////////////////Y  VT
	case '*':

		v_t_graph_DIR_GO_Y(30);   //Y축 vt 앞
		break;

	case '(':
		v_t_graph_DIR_BACK_Y(30);   //뒤
		break;

	case ')':
		v_t_graph_DIR_GO_Y(targetS_Y);
		break;

	case '_':
		v_t_graph_DIR_BACK_Y(targetS_Y);
		break;

		///////////////////////////////////////z축 볼스크류 스텝모터
	case 'j':
		HAL_GPIO_WritePin(GPIOG, GPIO_PIN_2, 1);  //정지

		break;

	case 'k':
		HAL_GPIO_WritePin(GPIOG, GPIO_PIN_2, 0);  //출발

		break;
//	case 'l':   //cw 1바퀴               시계방향  위쪽
//		HAL_GPIO_WritePin(GPIOG, GPIO_PIN_3, 0);  //방향
//
//		step_pulse_count_tim11 = 0;  //펄스 기준값 =0
//		HAL_TIM_OC_Start_IT(&htim11, TIM_CHANNEL_1);
//
//		break;
//	case ';':    //ccw 1바퀴            반시계방향  아래쪽
//
//		HAL_GPIO_WritePin(GPIOG, GPIO_PIN_3, 1);  //방향
//
//		step_pulse_count_tim11 = 0;
//		HAL_TIM_OC_Start_IT(&htim11, TIM_CHANNEL_1);
//
//		break;

	case 'L':   //cw 1바퀴               시계방향  위쪽
		z_axis_UP(shaft_step, shaft_pulse_cycle);

		break;
	case ':':    //ccw 1바퀴            반시계방향  아래쪽

		z_axis_DOWN(shaft_step, shaft_pulse_cycle);

		break;

		/////////////////////////////////////////////////다운파트 샤프트 스텝모터
	case 'm':
		HAL_GPIO_WritePin(GPIOF, GPIO_PIN_13, 1);  //정지

		break;

	case ',':
		HAL_GPIO_WritePin(GPIOF, GPIO_PIN_13, 0);  //출발

		break;

//	case '.': //cw 1바퀴
//
//		step_pulse_count_tim13 = 0;  //펄스 기준값 =0
//		HAL_GPIO_WritePin(GPIOF, GPIO_PIN_14, 0);  //방향  //일단 업이라 가정
//
//		HAL_TIM_OC_Start_IT(&htim13, TIM_CHANNEL_1);
//
//		break;
//
//	case '/': //ccw 1바퀴
//
//		step_pulse_count_tim13 = 0;
//		HAL_GPIO_WritePin(GPIOF, GPIO_PIN_14, 1);  //방향  //일단 다운 가정
//
//		HAL_TIM_OC_Start_IT(&htim13, TIM_CHANNEL_1);
//
//		break;
	case '>': //cw 1바퀴

		down_part_UP(ball_screw_step, ball_screw_pulse_cycle);

		break;

	case '?': //ccw 1바퀴

		down_part_DOWN(ball_screw_step, ball_screw_pulse_cycle);

		break;
	}

}

void UART4_RX_ESP_to_STM32(void) // UART4: esp <-> stm32
{
	HAL_UART_Receive_IT(&huart4, &data, 1);

	printf("%d -- %c \r\n", data, data);
	switch (data) {
	case '0':
		GPIOB->ODR |= 1 << 0;
		GPIOG->ODR &= ~1 << 0;  // start

		break;

	case '1':  //stop
		GPIOB->ODR &= ~1 << 0;
		GPIOG->ODR |= 1 << 0;
		break;

	case '2':  //dir
		GPIOE->ODR |= 1 << 0;  // back
		break;

	case '3':  //dir
		GPIOE->ODR &= ~1 << 0; // go
		break;

	case '4':

		TIM3->CCR1 = 0;
		TIM3->CCR2 = 0;

		break;

	case '5':
		TIM3->CCR1 = 50;
		TIM3->CCR2 = 50;
		break;

	case '6':
		TIM3->CCR1 = 200;
		TIM3->CCR2 = 200;
		break;

	case '7':
		TIM3->CCR1 = 1000;
		TIM3->CCR2 = 1000;
		break;

	case '!':
		RX_flag = 1;
		TIM2->CNT = 0;
		TIM4->CNT = 0;
		break;
	case 'A':  //Tx

		RX_flag = 2;
		break;
	}

}

/* USER CODE END 4 */

void Error_Handler(void)
{
	__disable_irq();
	while (1) {
	}
}
